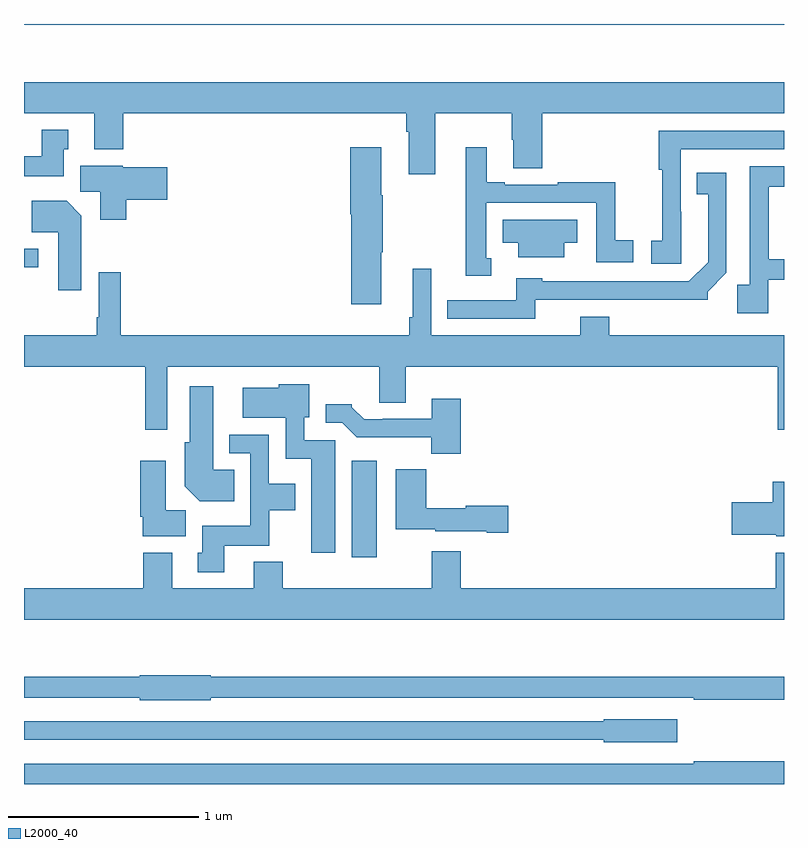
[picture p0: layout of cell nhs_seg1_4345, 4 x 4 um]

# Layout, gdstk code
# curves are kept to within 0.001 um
import gdstk
lib = gdstk.Library(unit=1e-6, precision=1e-09)
def R(c, l, rs):  # rectangles x0, y0, x1, y1
    for r in rs: c.add(gdstk.rectangle(r[:2], r[2:], *l))
def P(c, l, *ps):  # polygons
    for p in ps: c.add(gdstk.Polygon(p, *l))
L2000_40 = (2000, 40)

nhs_seg1_4345 = lib.new_cell('nhs_seg1_4345')
R(nhs_seg1_4345, L2000_40, [(348.725,553.392,348.856,553.9), (347,554.919,347.074,555.015), (347,556.194,351,556.199)])
P(nhs_seg1_4345, L2000_40, [(347,555.728),(347.369,555.728),(347.369,555.539),(347.522,555.539),(347.522,555.728),(349.013,555.728),(349.013,555.632),(349.025,555.632),(349.025,555.408),(349.165,555.408),(349.165,555.728),(349.567,555.728),(349.567,555.59),(349.574,555.59),(349.574,555.439),(349.727,555.439),(349.727,555.728),(351,555.728),(351,555.892),(347,555.892)],
  [(347.209,555.54),(347.233,555.54),(347.233,555.643),(347.093,555.643),(347.093,555.502),(347,555.502),(347,555.398),(347.209,555.398)],
  [(350.458,555.212),(350.457,555.212),(350.457,555.54),(351,555.54),(351,555.636),(350.341,555.636),(350.341,555.433),(350.359,555.433),(350.359,555.057),(350.301,555.057),(350.301,554.937),(350.458,554.937)],
  [(349.459,554.967),(349.434,554.967),(349.434,555.258),(350.013,555.258),(350.013,554.946),(350.206,554.946),(350.206,555.062),(350.112,555.062),(350.112,555.367),(349.81,555.367),(349.81,555.354),(349.531,555.354),(349.531,555.367),(349.435,555.367),(349.435,555.55),(349.325,555.55),(349.325,555.305),(349.326,555.305),(349.326,554.873),(349.459,554.873)],
  [(348.88,554.998),(348.888,554.998),(348.888,555.298),(348.88,555.298),(348.88,555.55),(348.716,555.55),(348.716,555.198),(348.722,555.198),(348.722,554.724),(348.88,554.724)],
  [(347.537,555.275),(347.755,555.275),(347.755,555.445),(347.52,555.445),(347.52,555.454),(347.297,555.454),(347.297,555.316),(347.402,555.316),(347.402,555.168),(347.537,555.168)],
  [(350.916,554.853),(351,554.853),(351,554.962),(350.921,554.962),(350.921,555.342),(351,555.342),(351,555.45),(350.82,555.45),(350.82,554.827),(350.755,554.827),(350.755,554.676),(350.916,554.676)],
  [(349.692,554.748),(350.598,554.747),(350.598,554.791),(350.697,554.89),(350.697,555.415),(350.542,555.415),(350.542,555.302),(350.6,555.302),(350.6,554.945),(350.499,554.844),(349.728,554.844),(349.728,554.86),(349.592,554.86),(349.592,554.745),(349.228,554.745),(349.228,554.649),(349.692,554.649)],
  [(347.302,555.19),(347.224,555.268),(347.041,555.268),(347.041,555.104),(347.18,555.104),(347.18,554.799),(347.302,554.799)],
  [(349.843,555.047),(349.912,555.047),(349.912,555.169),(349.519,555.169),(349.519,555.047),(349.601,555.047),(349.601,554.972),(349.843,554.972)],
  [(347.754,554.396),(348.869,554.396),(348.869,554.206),(349.009,554.206),(349.009,554.396),(350.968,554.396),(350.968,554.064),(351,554.064),(351,554.56),(350.081,554.56),(350.081,554.659),(349.928,554.659),(349.928,554.56),(349.143,554.56),(349.143,554.911),(349.046,554.911),(349.046,554.656),(349.027,554.656),(349.027,554.56),(347.51,554.56),(347.51,554.893),(347.394,554.893),(347.394,554.656),(347.382,554.656),(347.382,554.56),(347,554.56),(347,554.396),(347.638,554.396),(347.638,554.064),(347.754,554.064)],
  [(348.637,554.007),(348.474,554.007),(348.474,554.13),(348.502,554.13),(348.502,554.302),(348.342,554.302),(348.342,554.284),(348.15,554.284),(348.15,554.126),(348.378,554.126),(348.378,553.91),(348.512,553.91),(348.512,553.416),(348.637,553.416)],
  [(348.107,553.852),(347.995,553.852),(347.995,554.293),(347.873,554.293),(347.873,553.998),(347.846,553.998),(347.846,553.766),(347.924,553.688),(348.107,553.688)],
  [(349.298,554.227),(349.145,554.227),(349.145,554.121),(348.889,554.121),(348.889,554.118),(348.79,554.118),(348.726,554.182),(348.726,554.197),(348.587,554.197),(348.587,554.1),(348.675,554.1),(348.751,554.024),(349.143,554.024),(349.143,553.937),(349.298,553.937)],
  [(348.055,553.454),(348.291,553.454),(348.291,553.64),(348.427,553.64),(348.427,553.78),(348.288,553.78),(348.288,554.037),(348.08,554.037),(348.08,553.941),(348.192,553.941),(348.192,553.558),(347.939,553.558),(347.939,553.416),(347.915,553.416),(347.915,553.314),(348.055,553.314)],
  [(347.851,553.64),(347.746,553.64),(347.746,553.9),(347.612,553.9),(347.612,553.606),(347.624,553.606),(347.624,553.502),(347.851,553.502)],
  [(349.549,553.664),(349.326,553.664),(349.326,553.651),(349.118,553.651),(349.118,553.855),(348.956,553.855),(348.956,553.541),(349.164,553.541),(349.164,553.529),(349.436,553.529),(349.436,553.522),(349.549,553.522)],
  [(351,553.789),(350.942,553.789),(350.942,553.682),(350.724,553.682),(350.724,553.511),(350.958,553.511),(350.958,553.502),(351,553.502)],
  [(351,553.417),(350.957,553.417),(350.957,553.228),(349.298,553.228),(349.298,553.423),(349.145,553.423),(349.145,553.228),(348.362,553.228),(348.362,553.369),(348.209,553.369),(348.209,553.228),(347.779,553.228),(347.779,553.417),(347.627,553.417),(347.627,553.228),(347,553.228),(347,553.064),(351,553.064)],
  [(347.982,552.654),(350.524,552.654),(350.524,552.642),(351,552.642),(351,552.763),(347.982,552.763),(347.982,552.771),(347.61,552.771),(347.61,552.763),(347,552.763),(347,552.654),(347.61,552.654),(347.61,552.641),(347.982,552.641)],
  [(350.437,552.541),(350.052,552.541),(350.052,552.528),(347,552.528),(347,552.432),(350.052,552.432),(350.052,552.419),(350.437,552.419)],
  [(351,552.319),(350.524,552.319),(350.524,552.306),(347,552.306),(347,552.199),(351,552.199)])

lib.write_gds('nhs_seg1_4345.gds')
